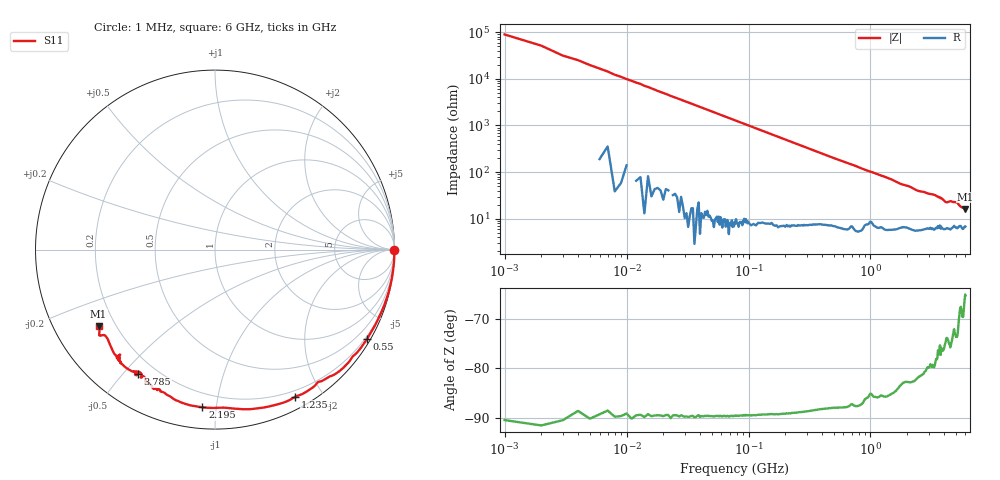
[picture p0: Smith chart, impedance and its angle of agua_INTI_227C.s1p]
! COPPER MOUNTAIN TECHNOLOGIES, R60, 23103002, 24.3.3/3.0
! Date: 23/10/2026 13:28:28
! Data: Format [Calibration Info]
! Frequency		S11: Re/Im RO
# HZ S RI R 50
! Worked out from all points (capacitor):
!   1280 points, 1 MHz to 6 GHz, reference 50 ohm
!   read as one part to ground: C = 1.6 pF near 7 MHz
!   lowest |Z| = 16.3 ohm at 6 GHz (marker M1)
!   S11 on the Smith chart (normalised r, x): 1 MHz: open; 550 MHz: 0.13, -3.66; 1.235 GHz: 0.13, -1.67; 2.195 GHz: 0.12, -0.92; 3.785 GHz: 0.13, -0.55; 6 GHz: 0.14, -0.30
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1000000  1 -0.00112
2.5e8  0.965 -0.2453
5.5e8  0.8457 -0.4993
7.55e8  0.742 -0.631
8.7e8  0.6621 -0.6978
1.235e9  0.4448 -0.8204
1.505e9  0.2872 -0.8766
1.77e9  0.1023 -0.886
2.065e9  -0.00305 -0.8821
2.195e9  -0.07 -0.8785
2.255e9  -0.1056 -0.8737
2.46e9  -0.1982 -0.8471
2.75e9  -0.2409 -0.8239
3.005e9  -0.3044 -0.7903
3.335e9  -0.3442 -0.7747
3.58e9  -0.4 -0.7054
3.68e9  -0.409 -0.6956
3.755e9  -0.445 -0.6956
3.785e9  -0.4307 -0.6915
4.15e9  -0.5468 -0.6043
4.255e9  -0.5447 -0.598
4.505e9  -0.527 -0.6326
4.815e9  -0.5312 -0.5858
5.12e9  -0.55 -0.5909
5.255e9  -0.5784 -0.5443
5.46e9  -0.6093 -0.4825
5.745e9  -0.6453 -0.4768
6e9  -0.6488 -0.4281
